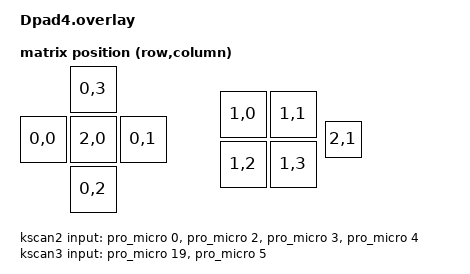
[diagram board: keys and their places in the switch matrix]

#include <dt-bindings/zmk/matrix_transform.h>
#include <physical_layouts.dtsi>

&adc {
    #io-channel-cells = <1>;
    #address-cells = <1>;
    #size-cells = <0>;
	status = "okay";

    channel@5 {
        reg = <5>;
        zephyr,input-positive = <NRF_SAADC_AIN5>;
        zephyr,gain = "ADC_GAIN_1_6";
        zephyr,reference = "ADC_REF_INTERNAL";
        zephyr,acquisition-time = <ADC_ACQ_TIME_DEFAULT>;
        zephyr,resolution = <12>;
        zephyr,oversampling = <0>;
    };

    channel@7 {
        reg = <7>;
        zephyr,input-positive = <NRF_SAADC_AIN7>;
        zephyr,gain = "ADC_GAIN_1_6";
        zephyr,reference = "ADC_REF_INTERNAL";
        zephyr,acquisition-time = <ADC_ACQ_TIME_DEFAULT>;
        zephyr,resolution = <12>;
        zephyr,oversampling = <0>;
    };
};

/ {
    chosen {
      zmk,physical-layout = &default_layout;
    };

    kscan0: kscan_composite {
        compatible = "zmk,kscan-composite";
        rows = <3>;
        columns = <4>;

        // Include the direct GPIO driver...
        direct_one {
            kscan = <&kscan1>;
            row-offset = <0>; // ...and shift it to not overlap
        };

        // Include the direct driver
        direct_two {
            kscan = <&kscan2>;
            row-offset = <1>;
        };

        direct_three {
            kscan = <&kscan3>;
            row-offset = <2>;
        };
    };

    kscan1: kscan_joystick {
        compatible = "zmk,kscan-joystick";
        poll-period-ms = <4>;  /* 250Hz */
        idle-period-ms = <50>; /* 20Hz */
        angle-overlap = <30>;
        /* do not use a second threshold with bad quality joysticks */
        /* thresholds = [0A 78]; */
        status = "okay";
        wakeup-source;
        io-channels = <&adc 7>, <&adc 5>;
        io-channel-names = "x-axis", "y-axis";
    };

    kscan2: kscan2 {
        compatible = "zmk,kscan-gpio-direct";
        wakeup-source;
        input-gpios
            = 
            <&pro_micro 0 (GPIO_ACTIVE_LOW | GPIO_PULL_UP)>,
            <&pro_micro 2 (GPIO_ACTIVE_LOW | GPIO_PULL_UP)>,
            <&pro_micro 3 (GPIO_ACTIVE_LOW | GPIO_PULL_UP)>,
            <&pro_micro 4 (GPIO_ACTIVE_LOW | GPIO_PULL_UP)>;
    }; 

    kscan3: kscan3 {
        compatible = "zmk,kscan-gpio-direct";
        wakeup-source;
        input-gpios
            = 
            <&pro_micro 19 (GPIO_ACTIVE_LOW | GPIO_PULL_UP)>,
            <&pro_micro 5 (GPIO_ACTIVE_LOW | GPIO_PULL_UP)>;
    }; 

    default_transform: matrix_transform {
        compatible = "zmk,matrix-transform";
        rows = <3>;
        columns = <4>;
        // ┌───┬───┐
        // │ 1 │ 2 │ 
        // ├───┼───│
        // │ 3 │ 4 │ 
        // └───────┘
        map = <
            RC(0,0) RC(0,1) RC(0,2) RC(0,3)
            RC(1,0) RC(1,1) RC(1,2) RC(1,3)
            RC(2,0) RC(2,1) 
        >;
    };

    
    default_layout: physical_layout0 {
        compatible = "zmk,physical-layout";
        display-name = "Default";

        transform = <&default_transform>;
        kscan = <&kscan0>;

        keys  //                     w   h    x    y     rot    rx    ry
            = <&key_physical_attrs 100 100    0  100       0     0     0>
            , <&key_physical_attrs 100 100  200  100       0     0     0>
            , <&key_physical_attrs 100 100  100  200       0     0     0>
            , <&key_physical_attrs 100 100  100    0       0     0     0>
            , <&key_physical_attrs 100 100  400   50       0     0     0>
            , <&key_physical_attrs 100 100  500   50       0     0     0>
            , <&key_physical_attrs 100 100  400  150       0     0     0>
            , <&key_physical_attrs 100 100  500  150       0     0     0>
            , <&key_physical_attrs 100 100  100  100       0     0     0>
            , <&key_physical_attrs  80  80  610  110       0     0     0>
            ;
    };

   
};

